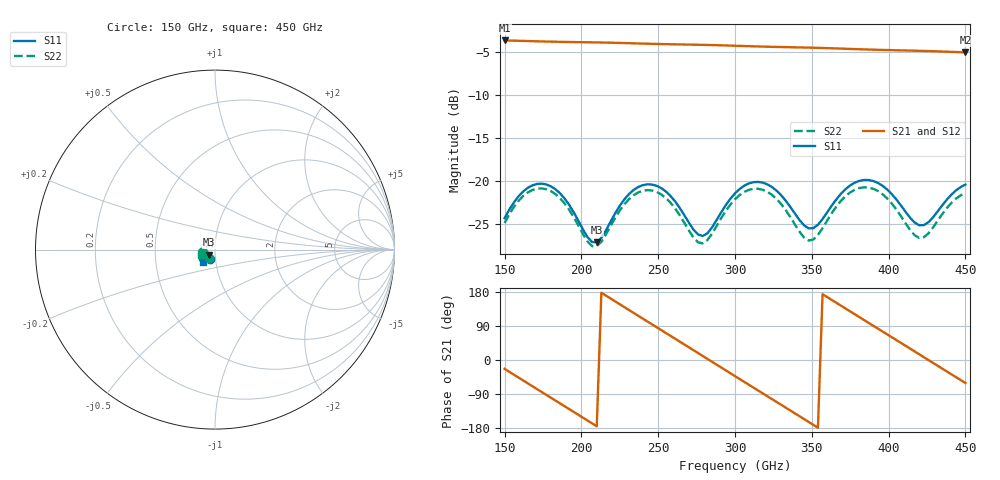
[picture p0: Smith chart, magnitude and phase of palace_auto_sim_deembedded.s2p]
! Created with skrf 1.11.0 (http://scikit-rf.org).
# GHz S DB R 50.0
!freq dBS11 angS11 dBS21 angS21 dBS12 angS12 dBS22 angS22
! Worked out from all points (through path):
!   101 points, 150 GHz to 450 GHz, reference 50 ohm
!   highest |S21| = -3.69 dB at 150 GHz (marker M1); lowest = -5.1 dB at 450 GHz (marker M2)
!   group delay of S21, straight-line fit = 7.01 ps
!   lowest |S11| = -27.2 dB at 210 GHz (marker M3), VSWR 1.09, Z = 46.7 - j2.6 ohm
!   |S11| at or under -10 dB: start of sweep to end of sweep
!   |S22| runs from -27.6 to -20.8 dB; largest |S21 - S12| = 1.1e-13
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150  -24.36 -119.7  -3.69 -23.3  -3.69 -23.3  -24.93 -125.8
174  -20.35 -144.1  -3.80 -84.1  -3.80 -84.1  -20.90 -152.6
186  -21.46 -160.2  -3.85 -114.3  -3.85 -114.3  -22.03 -169.5
201  -25.67 -163.0  -3.89 -152.1  -3.89 -152.1  -26.21 -173.0
210  -27.17 -140.6  -3.92 -174.9  -3.92 -174.9  -27.62 -151.5
222  -23.79 -122.8  -3.96 154.6  -3.96 154.6  -24.32 -135.4
234  -21.08 -131.6  -4.02 124.3  -4.02 124.3  -21.70 -145.1
252  -20.87 -154.6  -4.11 78.9  -4.11 78.9  -21.60 -169.4
276  -26.27 -150.6  -4.19 18.2  -4.19 18.2  -27.18 -165.4
288  -24.59 -125.7  -4.24 -12.2  -4.24 -12.2  -25.28 -141.2
300  -21.48 -127.5  -4.30 -42.5  -4.30 -42.5  -22.16 -144.7
312  -20.18 -140.8  -4.37 -72.8  -4.37 -72.8  -20.95 -159.4
324  -20.73 -154.9  -4.43 -103.0  -4.43 -103.0  -21.64 -174.7
339  -23.83 -160.5  -4.49 -140.8  -4.49 -140.8  -25.10 179.0
351  -25.53 -139.9  -4.54 -171.1  -4.54 -171.1  -26.85 -157.6
363  -22.90 -125.5  -4.60 158.5  -4.60 158.5  -23.79 -144.0
378  -20.23 -135.3  -4.69 120.7  -4.69 120.7  -21.05 -156.4
390  -20.04 -149.0  -4.76 90.5  -4.76 90.5  -20.95 -171.8
402  -21.55 -159.6  -4.82 60.3  -4.82 60.3  -22.64 176.1
417  -24.88 -152.1  -4.88 22.6  -4.88 22.6  -26.36 -175.8
426  -24.83 -134.5  -4.93 -0.2  -4.93 -0.2  -26.12 -156.5
450  -20.46 -134.7  -5.07 -60.7  -5.07 -60.7  -21.44 -160.6
